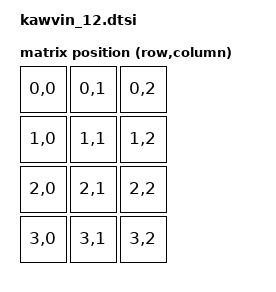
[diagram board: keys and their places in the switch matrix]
/*
 * Copyright (c) 2023 The ZMK Contributors
 *
 * SPDX-License-Identifier: MIT
 */

#include <dt-bindings/zmk/matrix_transform.h>
#include <physical_layouts.dtsi>

/ {
    ky12_layout: ky12_layout {
        compatible = "zmk,physical-layout";
        display-name = "ky12";

        kscan = <&kscan0>;
        transform = <&matrix_transform0>;

        keys  //                     w   h    x    y     rot    rx    ry
            = <&key_physical_attrs 100 100    0    0       0     0     0>
            , <&key_physical_attrs 100 100  100    0       0     0     0>
            , <&key_physical_attrs 100 100  200    0       0     0     0>
            , <&key_physical_attrs 100 100    0  100       0     0     0>
            , <&key_physical_attrs 100 100  100  100       0     0     0>
            , <&key_physical_attrs 100 100  200  100       0     0     0>
            , <&key_physical_attrs 100 100    0  200       0     0     0>
            , <&key_physical_attrs 100 100  100  200       0     0     0>
            , <&key_physical_attrs 100 100  200  200       0     0     0>
            , <&key_physical_attrs 100 100    0  300       0     0     0>
            , <&key_physical_attrs 100 100  100  300       0     0     0>
            , <&key_physical_attrs 100 100  200  300       0     0     0>
            ;
    };
};

/ {

    chosen {
        // zmk,matrix-transform = &default_transform;
        physical-layouts = &ky12_layout;
    };

    default_transform: keymap_transform_0 {
        compatible = "zmk,matrix-transform";
        columns = <3>;
        rows = <4>;
        //	|HOME|UP   |PG_UP|
        //	|LEFT|SPACE|RIGHT|
        //	|END |DOWN |PG_DN|
        //	|TAB |BSPC |ENTER|

        map = <
            RC(0,0) RC(0,1) RC(0,2) 
            RC(1,0) RC(1,1) RC(1,2) 
            RC(2,0) RC(2,1) RC(2,2) 
            RC(3,0) RC(3,1) RC(3,2)              
        >;
    };

};

&ky12_layout{
	transform = <&default_transform>;
	kscan = <&kscan0>;
};



zephyr_udc0: &usbd { 
    compatible = "nordic,nrf-usbd"; 
    status = "okay"; 
};
